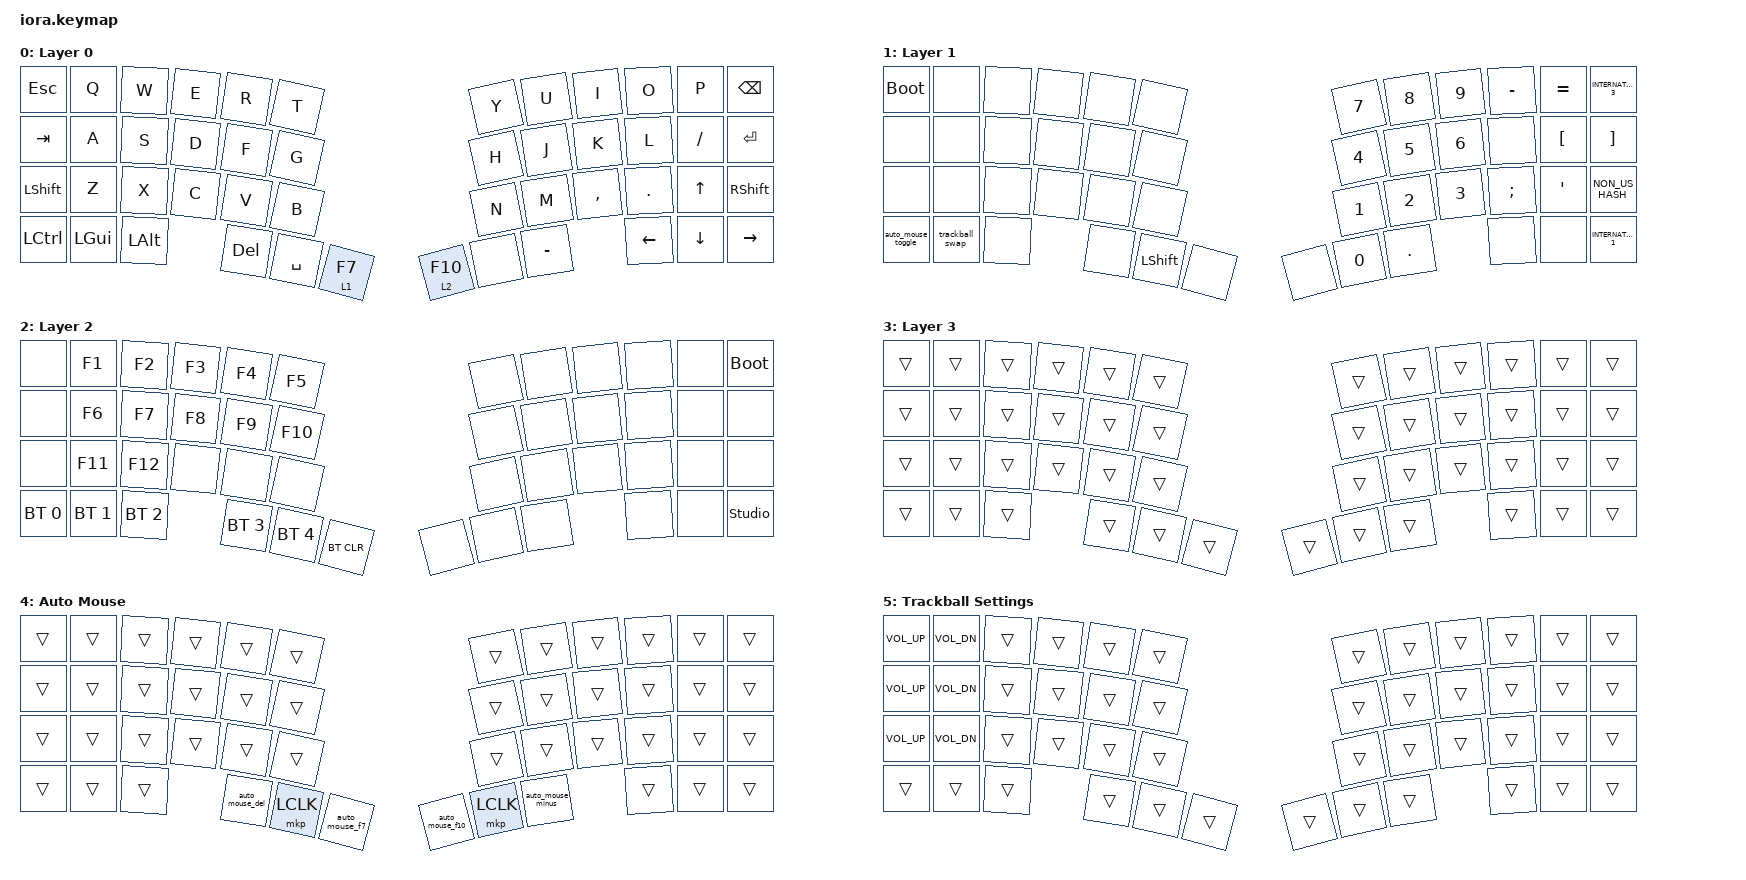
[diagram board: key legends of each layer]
#include <behaviors.dtsi>
#include <dt-bindings/zmk/bt.h>
#include <dt-bindings/zmk/keys.h>
#include <dt-bindings/zmk/pointing.h>

/ {
    behaviors {
        auto_mouse_toggle: auto-mouse-toggle {
            compatible = "askey,auto-mouse-control";
            #binding-cells = <0>;
            display-name = "Auto Mouse Toggle";
        };

        trackball_swap: trackball-swap {
            compatible = "askey,trackball-swap";
            #binding-cells = <0>;
            display-name = "Trackball Swap";
        };

        auto_mouse_del: auto-mouse-del {
            compatible = "askey,auto-mouse-control";
            #binding-cells = <0>;
            bindings = <&kp DEL>;
        };

        auto_mouse_f7: auto-mouse-f7 {
            compatible = "askey,auto-mouse-control";
            #binding-cells = <0>;
            bindings = <&lt 1 F7>;
        };

        auto_mouse_f10: auto-mouse-f10 {
            compatible = "askey,auto-mouse-control";
            #binding-cells = <0>;
            bindings = <&lt 2 F10>;
        };

        auto_mouse_minus: auto-mouse-minus {
            compatible = "askey,auto-mouse-control";
            #binding-cells = <0>;
            bindings = <&kp MINUS>;
        };
    };

    combos {
        compatible = "zmk,combos";

        auto_mouse_right_click {
            key-positions = <40 41>; /* Space + F7 */
            timeout-ms = <50>;
            layers = <4>;
            bindings = <&mkp RCLK>;
        };

        auto_mouse_middle_click {
            key-positions = <39 40>; /* Del + Space */
            timeout-ms = <50>;
            layers = <4>;
            bindings = <&mkp MCLK>;
        };

        auto_mouse_right_thumb_right_click {
            key-positions = <42 43>; /* F10 + right thumb center */
            timeout-ms = <50>;
            layers = <4>;
            bindings = <&mkp RCLK>;
        };

        auto_mouse_right_thumb_middle_click {
            key-positions = <43 44>; /* Right thumb center + Minus */
            timeout-ms = <50>;
            layers = <4>;
            bindings = <&mkp MCLK>;
        };

        grave {
            key-positions = <0 1>;
            timeout-ms = <50>;
            layers = <0>;
            slow-release;
            bindings = <&kp GRAVE>;
        };

        print_screen {
            key-positions = <10 11>;
            timeout-ms = <50>;
            layers = <0>;
            slow-release;
            bindings = <&kp PRINTSCREEN>;
        };

        home {
            key-positions = <45 46>;
            timeout-ms = <50>;
            layers = <0>;
            slow-release;
            bindings = <&kp HOME>;
        };

        end {
            key-positions = <46 47>;
            timeout-ms = <50>;
            layers = <0>;
            slow-release;
            bindings = <&kp END>;
        };

        left_click {
            key-positions = <15 16>;
            timeout-ms = <50>;
            layers = <0>;
            slow-release;
            bindings = <&mkp LCLK>;
        };

        right_click {
            key-positions = <14 15>;
            timeout-ms = <50>;
            layers = <0>;
            slow-release;
            bindings = <&mkp RCLK>;
        };

        middle_click {
            key-positions = <14 15 16>;
            timeout-ms = <50>;
            layers = <0>;
            slow-release;
            bindings = <&mkp MCLK>;
        };
    };

    keymap {
        compatible = "zmk,keymap";

        layer_0 {
            display-name = "Layer 0";
            bindings = <
                &kp ESC  &kp Q  &kp W  &kp E  &kp R  &kp T                     &kp Y  &kp U  &kp I  &kp O  &kp P  &kp BSPC
                &kp TAB  &kp A  &kp S  &kp D  &kp F  &kp G                     &kp H  &kp J  &kp K  &kp L  &kp SLASH  &kp ENTER
                &kp LSHIFT  &kp Z  &kp X  &kp C  &kp V  &kp B                  &kp N  &kp M  &kp COMMA  &kp DOT  &kp UP  &kp RSHIFT
                &kp LCTRL  &kp LGUI  &kp LALT  &kp DEL  &kp SPACE  &lt 1 F7    &lt 2 F10  &none  &kp MINUS  &kp LEFT  &kp DOWN  &kp RIGHT
            >;
        };

        layer_1 {
            display-name = "Layer 1";
            bindings = <
                &bootloader  &none  &none  &none  &none  &none    &kp NUMBER_7  &kp NUMBER_8  &kp NUMBER_9  &kp MINUS  &kp EQUAL  &kp INTERNATIONAL_3
                &none  &none  &none  &none  &none  &none          &kp NUMBER_4  &kp NUMBER_5  &kp NUMBER_6  &none  &kp LEFT_BRACKET  &kp RIGHT_BRACKET
                &none  &none  &none  &none  &none  &none          &kp NUMBER_1  &kp NUMBER_2  &kp NUMBER_3  &kp SEMICOLON  &kp SINGLE_QUOTE  &kp NON_US_HASH
                &auto_mouse_toggle  &trackball_swap  &none  &none  &kp LSHIFT  &none    &none  &kp NUMBER_0  &kp DOT  &none  &none  &kp INTERNATIONAL_1
            >;
        };

        layer_2 {
            display-name = "Layer 2";
            bindings = <
                &none  &kp F1  &kp F2  &kp F3  &kp F4  &kp F5                                       &none  &none  &none  &none  &none  &bootloader
                &none  &kp F6  &kp F7  &kp F8  &kp F9  &kp F10                                      &none  &none  &none  &none  &none  &none
                &none  &kp F11  &kp F12  &none  &none  &none                                        &none  &none  &none  &none  &none  &none
                &bt BT_SEL 0  &bt BT_SEL 1  &bt BT_SEL 2  &bt BT_SEL 3  &bt BT_SEL 4  &bt BT_CLR    &none  &none  &none  &none  &none  &studio_unlock
            >;
        };

        layer_3 {
            display-name = "Layer 3";
            bindings = <
                &trans  &trans  &trans  &trans  &trans  &trans    &trans  &trans  &trans  &trans  &trans  &trans
                &trans  &trans  &trans  &trans  &trans  &trans    &trans  &trans  &trans  &trans  &trans  &trans
                &trans  &trans  &trans  &trans  &trans  &trans    &trans  &trans  &trans  &trans  &trans  &trans
                &trans  &trans  &trans  &trans  &trans  &trans    &trans  &trans  &trans  &trans  &trans  &trans
            >;
        };

        layer_4 {
            display-name = "Auto Mouse";
            bindings = <
                &trans  &trans  &trans  &trans  &trans  &trans    &trans  &trans  &trans  &trans  &trans  &trans
                &trans  &trans  &trans  &trans  &trans  &trans    &trans  &trans  &trans  &trans  &trans  &trans
                &trans  &trans  &trans  &trans  &trans  &trans    &trans  &trans  &trans  &trans  &trans  &trans
                &trans  &trans  &trans  &auto_mouse_del  &mkp LCLK  &auto_mouse_f7    &auto_mouse_f10  &mkp LCLK  &auto_mouse_minus  &trans  &trans  &trans
            >;
        };

        layer_5 {
            display-name = "Trackball Settings";
            bindings = <
                &kp C_VOL_UP  &kp C_VOL_DN  &trans  &trans  &trans  &trans    &trans  &trans  &trans  &trans  &trans  &trans
                &kp C_VOL_UP  &kp C_VOL_DN  &trans  &trans  &trans  &trans    &trans  &trans  &trans  &trans  &trans  &trans
                &kp C_VOL_UP  &kp C_VOL_DN  &trans  &trans  &trans  &trans    &trans  &trans  &trans  &trans  &trans  &trans
                &trans  &trans  &trans  &trans  &trans  &trans    &trans  &trans  &trans  &trans  &trans  &trans
            >;
        };
    };
};
